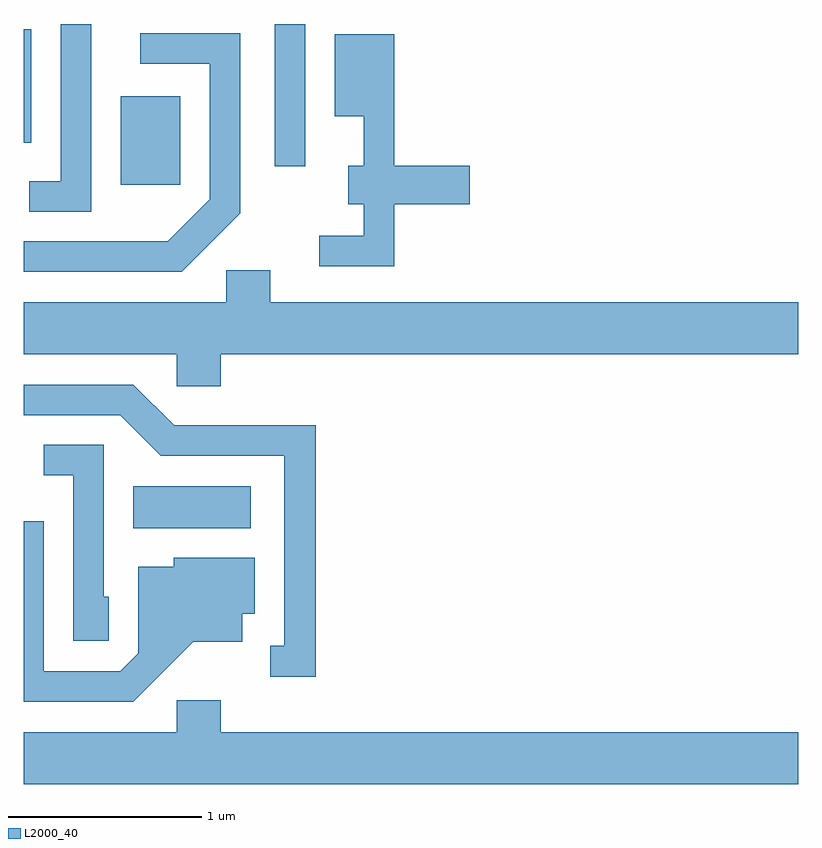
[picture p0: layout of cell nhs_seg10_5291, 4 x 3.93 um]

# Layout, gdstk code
import gdstk
lib = gdstk.Library(unit=1e-6, precision=1e-09)
def R(c, l, rs):  # rectangles x0, y0, x1, y1
    for r in rs: c.add(gdstk.rectangle(r[:2], r[2:], *l))
def P(c, l, *ps):  # polygons
    for p in ps: c.add(gdstk.Polygon(p, *l))
L2000_40 = (2000, 40)

nhs_seg10_5291 = lib.new_cell('nhs_seg10_5291')
R(nhs_seg10_5291, L2000_40, [(342.176,2101.916,342.784,2102.134), (342.111,2103.691,342.419,2104.149), (342.906,2103.788,343.064,2104.522), (341.611,2103.908,341.649,2104.494)])
P(nhs_seg10_5291, L2000_40, [(341.959,2104.522),(341.801,2104.522),(341.801,2103.709),(341.638,2103.709),(341.638,2103.551),(341.959,2103.551)],
  [(342.729,2103.544),(342.729,2104.474),(342.213,2104.474),(342.213,2104.316),(342.571,2104.316),(342.571,2103.617),(342.354,2103.399),(341.611,2103.399),(341.611,2103.241),(342.427,2103.241)],
  [(343.524,2103.591),(343.914,2103.591),(343.914,2103.789),(343.524,2103.789),(343.524,2104.469),(343.216,2104.469),(343.216,2104.046),(343.366,2104.046),(343.366,2103.789),(343.286,2103.789),(343.286,2103.591),(343.366,2103.591),(343.366,2103.429),(343.138,2103.429),(343.138,2103.271),(343.524,2103.271)],
  [(342.629,2102.816),(345.611,2102.816),(345.611,2103.084),(342.884,2103.084),(342.884,2103.249),(342.656,2103.249),(342.656,2103.084),(341.611,2103.084),(341.611,2102.816),(342.401,2102.816),(342.401,2102.651),(342.629,2102.651)],
  [(343.119,2102.449),(342.387,2102.449),(342.177,2102.659),(341.611,2102.659),(341.611,2102.501),(342.109,2102.501),(342.319,2102.291),(342.956,2102.291),(342.956,2101.309),(342.883,2101.309),(342.883,2101.151),(343.119,2101.151)],
  [(342.049,2101.564),(342.024,2101.564),(342.024,2102.349),(341.713,2102.349),(341.713,2102.191),(341.866,2102.191),(341.866,2101.336),(342.049,2101.336)],
  [(342.487,2101.331),(342.739,2101.331),(342.739,2101.476),(342.804,2101.476),(342.804,2101.764),(342.386,2101.764),(342.386,2101.719),(342.201,2101.719),(342.201,2101.272),(342.109,2101.179),(341.714,2101.179),(341.714,2101.953),(341.611,2101.953),(341.611,2101.021),(342.177,2101.021)],
  [(345.611,2100.864),(342.629,2100.864),(342.629,2101.029),(342.401,2101.029),(342.401,2100.864),(341.611,2100.864),(341.611,2100.596),(345.611,2100.596)])

lib.write_gds('nhs_seg10_5291.gds')
